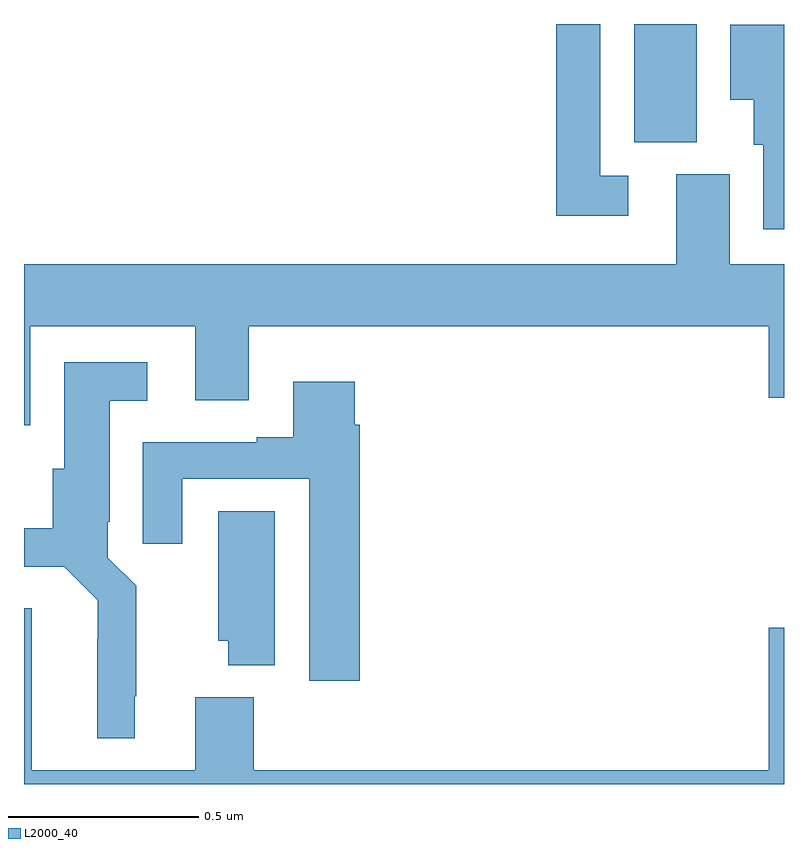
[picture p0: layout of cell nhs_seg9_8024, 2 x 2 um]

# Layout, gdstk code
import gdstk
lib = gdstk.Library(unit=1e-6, precision=1e-09)
def R(c, l, rs):  # rectangles x0, y0, x1, y1
    for r in rs: c.add(gdstk.rectangle(r[:2], r[2:], *l))
def P(c, l, *ps):  # polygons
    for p in ps: c.add(gdstk.Polygon(p, *l))
L2000_40 = (2000, 40)

nhs_seg9_8024 = lib.new_cell('nhs_seg9_8024')
R(nhs_seg9_8024, L2000_40, [(212.606,1246.189,212.77,1246.5)])
P(nhs_seg9_8024, L2000_40, [(212.59,1246.101),(212.517,1246.101),(212.517,1246.5),(212.401,1246.5),(212.401,1245.996),(212.59,1245.996)],
  [(213,1246.498),(212.858,1246.498),(212.858,1246.301),(212.921,1246.301),(212.921,1246.182),(212.946,1246.182),(212.946,1245.96),(213,1245.96)],
  [(211.017,1245.704),(211.451,1245.704),(211.451,1245.51),(211.591,1245.51),(211.591,1245.704),(212.96,1245.704),(212.96,1245.516),(213,1245.516),(213,1245.868),(212.857,1245.868),(212.857,1246.104),(212.717,1246.104),(212.717,1245.868),(211,1245.868),(211,1245.444),(211.017,1245.444)],
  [(211.291,1244.731),(211.295,1244.731),(211.295,1245.022),(211.221,1245.096),(211.221,1245.19),(211.225,1245.19),(211.225,1245.509),(211.324,1245.509),(211.324,1245.61),(211.106,1245.61),(211.106,1245.33),(211.076,1245.33),(211.076,1245.173),(211,1245.173),(211,1245.072),(211.106,1245.072),(211.194,1244.984),(211.194,1244.882),(211.193,1244.882),(211.193,1244.621),(211.291,1244.621)],
  [(211.883,1245.446),(211.87,1245.446),(211.87,1245.559),(211.709,1245.559),(211.709,1245.412),(211.613,1245.412),(211.613,1245.399),(211.313,1245.399),(211.313,1245.132),(211.417,1245.132),(211.417,1245.303),(211.751,1245.303),(211.751,1244.772),(211.883,1244.772)],
  [(211.66,1245.218),(211.511,1245.218),(211.511,1244.877),(211.538,1244.877),(211.538,1244.813),(211.66,1244.813)],
  [(213,1244.911),(212.96,1244.911),(212.96,1244.536),(211.604,1244.536),(211.604,1244.728),(211.451,1244.728),(211.451,1244.536),(211.021,1244.536),(211.021,1244.962),(211,1244.962),(211,1244.5),(213,1244.5)])

lib.write_gds('nhs_seg9_8024.gds')
